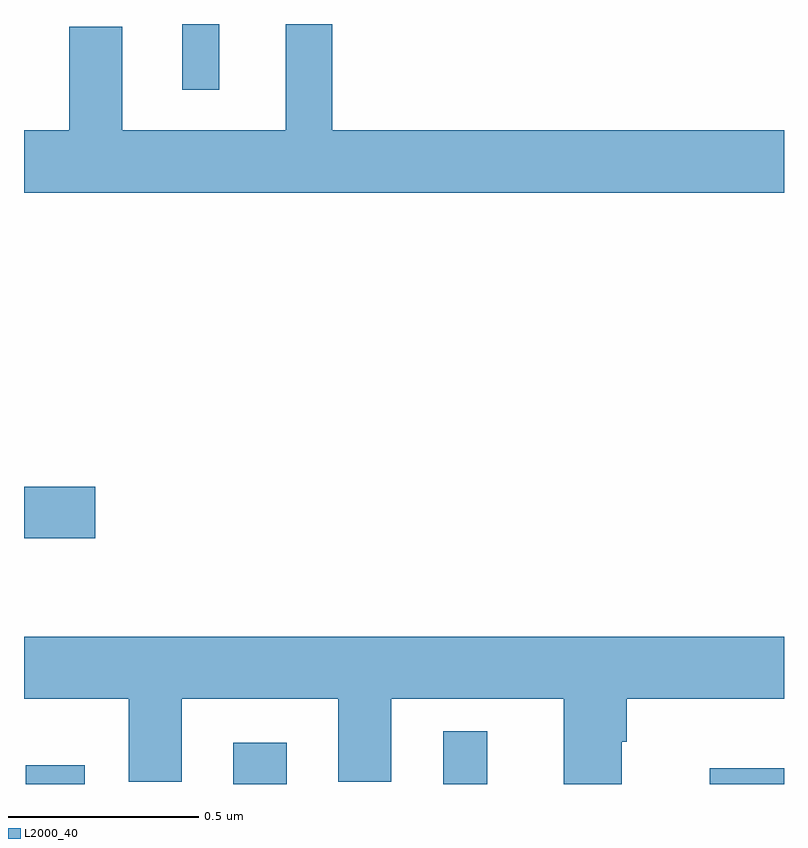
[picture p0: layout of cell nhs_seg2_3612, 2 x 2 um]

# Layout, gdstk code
import gdstk
lib = gdstk.Library(unit=1e-6, precision=1e-09)
def R(c, l, rs):  # rectangles x0, y0, x1, y1
    for r in rs: c.add(gdstk.rectangle(r[:2], r[2:], *l))
def P(c, l, *ps):  # polygons
    for p in ps: c.add(gdstk.Polygon(p, *l))
L2000_40 = (2000, 40)

nhs_seg2_3612 = lib.new_cell('nhs_seg2_3612')
R(nhs_seg2_3612, L2000_40, [(156.005,592.8,156.16,592.849), (156.551,592.8,156.691,592.909), (157.103,592.8,157.219,592.939), (157.804,592.8,158,592.841), (156,593.447,156.187,593.582), (156.416,594.627,156.514,594.8)])
P(nhs_seg2_3612, L2000_40, [(158,594.52),(156.811,594.52),(156.811,594.8),(156.689,594.8),(156.689,594.52),(156.259,594.52),(156.259,594.793),(156.119,594.793),(156.119,594.52),(156,594.52),(156,594.356),(158,594.356)],
  [(157.573,592.911),(157.586,592.911),(157.586,593.024),(158,593.024),(158,593.188),(156,593.188),(156,593.024),(156.275,593.024),(156.275,592.806),(156.415,592.806),(156.415,593.024),(156.827,593.024),(156.827,592.806),(156.967,592.806),(156.967,593.024),(157.421,593.024),(157.421,592.8),(157.573,592.8)])

lib.write_gds('nhs_seg2_3612.gds')
